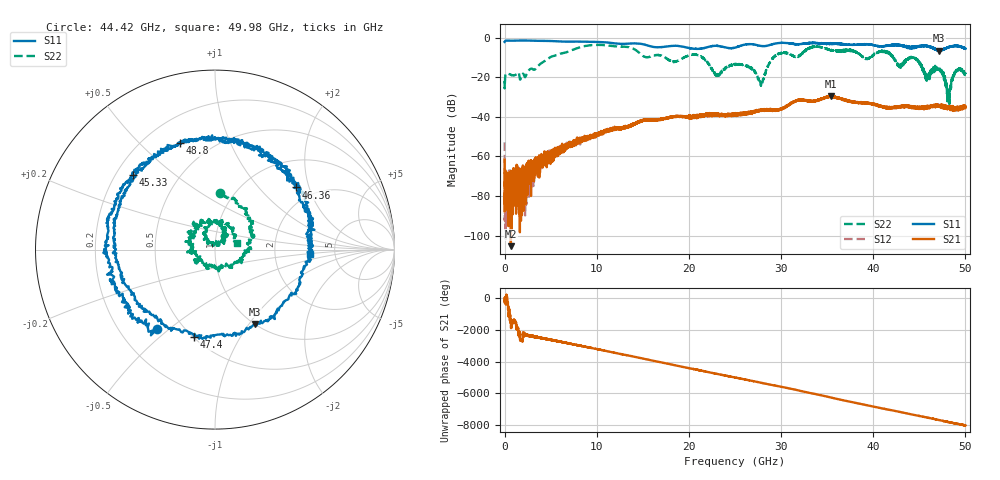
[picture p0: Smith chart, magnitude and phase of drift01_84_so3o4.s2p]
!Created with skrf (http://scikit-rf.org).
# Hz S RI R 50.0
!freq ReS11 ImS11 ReS21 ImS21 ReS12 ImS12 ReS22 ImS22
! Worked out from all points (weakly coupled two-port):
!   10001 points, 300 kHz to 50 GHz, reference 50 ohm
!   highest |S21| = -29.56 dB at 35.38 GHz (marker M1); lowest = -105.4 dB at 680.3 MHz (marker M2)
!   lowest |S11| = -6.6 dB at 47.11 GHz (marker M3), VSWR 2.77, Z = 50.3 - j53.4 ohm
!   |S11| at or under -10 dB: nowhere
!   |S22| runs from -33.5 to -3.6 dB; largest |S21 - S12| = 0.0034
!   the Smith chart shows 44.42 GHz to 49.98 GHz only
!   S11 on the Smith chart (normalised r, x): 44.42 GHz: 0.36, -0.45; 45.33 GHz: 0.27, +0.36; 46.36 GHz: 1.60, +1.64; 47.4 GHz: 0.50, -0.66; 48.8 GHz: 0.34, +0.67; 49.98 GHz: 3.21, -0.24
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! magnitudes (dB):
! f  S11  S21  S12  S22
! 300 kHz  -2.1  -61.6  -52.9  -21.9
! 255.3 MHz  -1.4  -78.6  -70.9  -18.0
! 680.3 MHz  -1.5  -105.4  -80.2  -18.8
! 8.335 GHz  -1.9  -52.1  -51.4  -4.5
! 16.67 GHz  -4.8  -41.3  -41.5  -8.7
! 20.98 GHz  -5.6  -39.4  -39.3  -8.8
! 23.09 GHz  -4.1  -38.7  -39.0  -18.8
! 25 GHz  -5.0  -38.3  -38.8  -13.5
! 27.86 GHz  -4.2  -36.3  -36.5  -22.9
! 29.44 GHz  -2.9  -36.5  -36.7  -9.0
! 33.34 GHz  -2.6  -32.1  -31.9  -4.8
! 35.38 GHz  -2.8  -29.6  -29.6  -6.4
! 41.67 GHz  -3.9  -35.7  -35.3  -8.1
! 44.42 GHz  -5.2  -35.4  -35.3  -10.1
! 45.33 GHz  -4.2  -35.4  -35.1  -15.1
! 46.36 GHz  -4.9  -34.7  -34.5  -16.3
! 47.11 GHz  -6.6  -34.4  -34.5  -16.0
! 47.4 GHz  -6.0  -35.0  -35.0  -16.3
! 48.2 GHz  -4.8  -35.3  -35.3  -31.2
! 48.8 GHz  -4.1  -35.1  -36.3  -18.2
! 49.98 GHz  -5.6  -35.7  -34.7  -17.9
! 50 GHz  -5.5  -34.7  -35.3  -18.3
